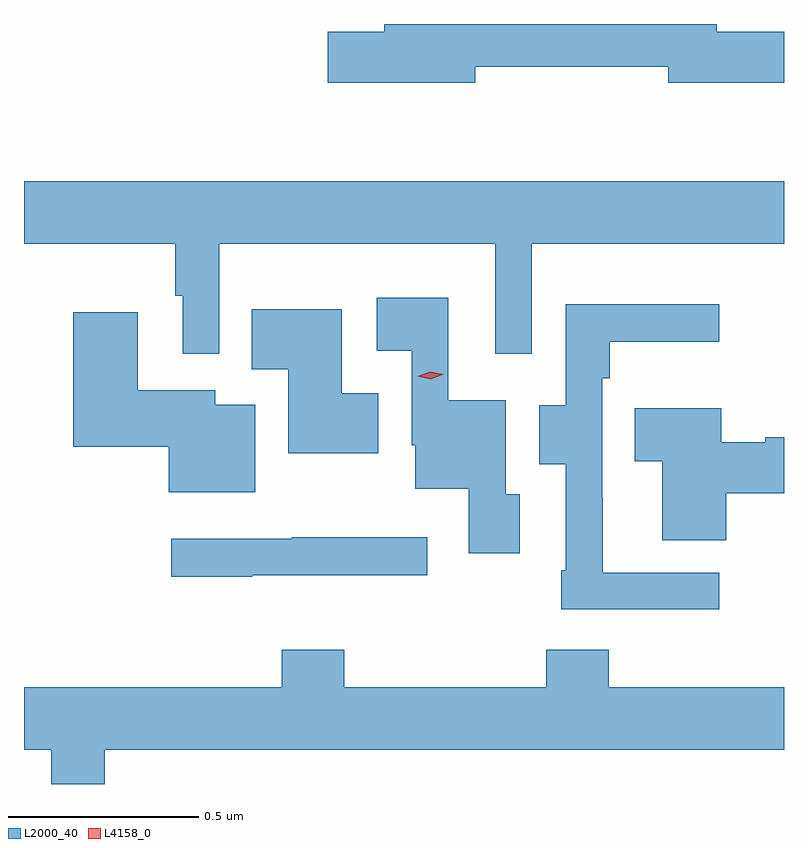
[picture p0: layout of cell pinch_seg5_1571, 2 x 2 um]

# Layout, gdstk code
import gdstk
lib = gdstk.Library(unit=1e-6, precision=1e-09)
def P(c, l, *ps):  # polygons
    for p in ps: c.add(gdstk.Polygon(p, *l))
L2000_40 = (2000, 40)
L4158_0 = (4158, 0)

pinch_seg5_1571 = lib.new_cell('pinch_seg5_1571')
P(pinch_seg5_1571, L2000_40, [(366.856,835.914),(367.364,835.914),(367.364,835.871),(367.669,835.871),(367.669,836.006),(367.492,836.006),(367.492,836.026),(366.617,836.026),(366.617,836.006),(366.468,836.006),(366.468,835.871),(366.856,835.871)],
  [(366.183,835.448),(366.909,835.448),(366.909,835.158),(367.005,835.158),(367.005,835.448),(367.669,835.448),(367.669,835.612),(365.669,835.612),(365.669,835.448),(366.067,835.448),(366.067,835.311),(366.087,835.311),(366.087,835.158),(366.183,835.158)],
  [(366.973,834.789),(366.937,834.789),(366.937,835.036),(366.786,835.036),(366.786,835.306),(366.597,835.306),(366.597,835.166),(366.69,835.166),(366.69,834.918),(366.698,834.918),(366.698,834.803),(366.84,834.803),(366.84,834.633),(366.973,834.633)],
  [(367.498,834.582),(367.192,834.582),(367.192,834.779),(367.191,834.779),(367.191,835.094),(367.211,835.094),(367.211,835.19),(367.498,835.19),(367.498,835.288),(367.095,835.288),(367.095,835.023),(367.025,835.023),(367.025,834.868),(367.095,834.868),(367.095,834.589),(367.083,834.589),(367.083,834.486),(367.498,834.486)],
  [(366.601,835.054),(366.505,835.054),(366.505,835.276),(366.268,835.276),(366.268,835.118),(366.365,835.118),(366.365,834.896),(366.601,834.896)],
  [(366.277,835.024),(366.172,835.024),(366.172,835.062),(365.968,835.062),(365.968,835.267),(365.798,835.267),(365.798,834.914),(366.05,834.914),(366.05,834.794),(366.277,834.794)],
  [(367.517,834.791),(367.669,834.791),(367.669,834.938),(367.62,834.938),(367.62,834.925),(367.504,834.925),(367.504,835.015),(367.276,835.015),(367.276,834.875),(367.349,834.875),(367.349,834.667),(367.517,834.667)],
  [(366.269,834.575),(366.73,834.575),(366.73,834.675),(366.373,834.675),(366.373,834.672),(366.057,834.672),(366.057,834.571),(366.269,834.571)],
  [(365.881,834.116),(367.669,834.116),(367.669,834.28),(367.208,834.28),(367.208,834.379),(367.043,834.379),(367.043,834.28),(366.512,834.28),(366.512,834.379),(366.347,834.379),(366.347,834.28),(365.669,834.28),(365.669,834.116),(365.741,834.116),(365.741,834.026),(365.881,834.026)])
P(pinch_seg5_1571, L4158_0, [(366.739,835.091),(366.704,835.099),(366.703,835.099),(366.704,835.099),(366.738,835.111),(366.774,835.104),(366.774,835.104),(366.774,835.104)])

lib.write_gds('pinch_seg5_1571.gds')
